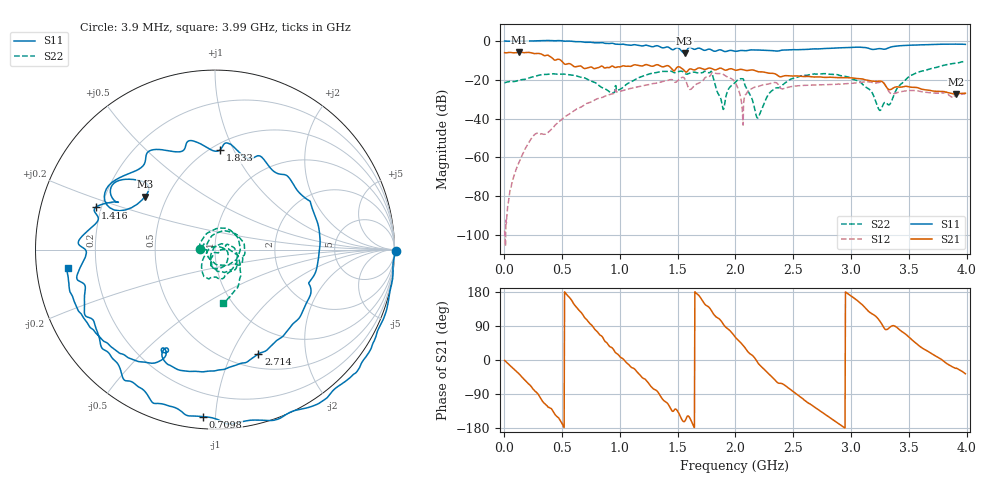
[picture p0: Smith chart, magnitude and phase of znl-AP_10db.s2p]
#  HZ  S  RI  R  50.00
! Rohde & Schwarz Vector Network Analyzer
! Rohde-Schwarz,ZNL20-2Port,1323001220101312,1.72.1.6-23.02.1.246
! Created: UTC 10/9/2024, 8:51:46 PM
! freq[Hz]  re:S11  im:S11  re:S21  im:S21  re:S12  im:S12  re:S22  im:S22
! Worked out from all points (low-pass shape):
!   1023 points, 3.9 MHz to 3.99 GHz, reference 50 ohm
!   highest |S21| = -5.65 dB at 132.6 MHz (marker M1); lowest = -27.5 dB at 3.908 GHz (marker M2)
!   |S21| within 3 dB of the highest: start of sweep to 414.6 MHz
!   lowest |S11| = -6.2 dB at 1.56 GHz (marker M3), VSWR 2.91, Z = 18.9 + j14.7 ohm
!   |S11| at or under -10 dB: nowhere
!   |S22| runs from -39.7 to -10.4 dB; largest |S21 - S12| = 0.52
!   S11 on the Smith chart (normalised r, x): 3.9 MHz: open; 709.8 MHz: 0.06, -0.93; 1.416 GHz: 0.18, +0.17; 1.833 GHz: 0.55, +0.89; 2.714 GHz: 0.66, -1.27; 3.99 GHz: 0.10, -0.06
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3900000  1.01 -0.00703  0.5045 -0.00893  -7.37e-06 1.04e-05  -0.0836 0.00288
1.326e8  0.975 -0.2307  0.4131 -0.3188  -0.000684 0.00041  -0.0518 0.0838
3.822e8  0.7817 -0.6887  -0.2472 -0.3506  0.000682 0.00437  0.11 0.0853
6.708e8  0.0391 -0.9594  -0.1218 0.1829  0.0185 0.00823  0.0848 -0.0791
7.098e8  -0.0664 -0.9304  -0.0608 0.1895  0.0236 0.00544  0.0607 -0.0886
9.36e8  -0.5106 -0.72  0.1941 0.1194  0.0282 -0.033  -0.0448 -0.00856
1.3338e9  -0.7456 0.0686  0.0154 -0.242  -0.0802 -0.0256  0.1494 0.0515
1.4157e9  -0.6655 0.2349  -0.1004 -0.2098  -0.0956 0.0137  0.1656 -0.00627
1.56e9  -0.3892 0.2957  -0.1638 -0.0525  -0.0375 0.1025  0.1237 -0.0842
1.7784e9  -0.1289 0.6071  -0.1473 0.1382  -0.0104 0.1239  -0.00736 -0.1541
1.833e9  0.0274 0.5548  -0.0733 0.1666  0.0889 0.1164  -0.0528 -0.0282
1.8954e9  0.1389 0.5381  -0.014 0.186  0.1225 0.0649  -0.00399 0.0167
1.9968e9  0.3176 0.4447  0.0862 0.1561  0.0798 -0.0342  0.0722 -0.0444
2.0631e9  0.4212 0.3887  0.1409 0.1178  0.00889 -0.00652  0.0081 -0.1061
2.1957e9  0.5804 0.1081  0.1607 -0.023  0.0651 -0.0161  -0.00893 0.00539
2.3244e9  0.5469 -0.1514  0.1003 -0.1078  0.0532 -0.0652  0.0454 0.0303
2.6637e9  0.2999 -0.5497  -0.0589 -0.1032  -0.0362 -0.0636  0.1215 -0.0699
2.7144e9  0.2423 -0.5806  -0.0783 -0.0908  -0.0485 -0.0558  0.1094 -0.0886
3.3267e9  -0.2886 -0.6085  0.0061 0.056  0.0268 0.0429  0.0212 -0.00762
3.5139e9  -0.545 -0.5667  0.0356 0.054  0.0342 0.0405  0.1246 -0.0303
3.9078e9  -0.8142 -0.1976  0.0392 -0.016  0.0379 -0.015  0.0915 -0.2547
3.9897e9  -0.82 -0.1008  0.0364 -0.0267  0.0347 -0.0265  0.0456 -0.3003
